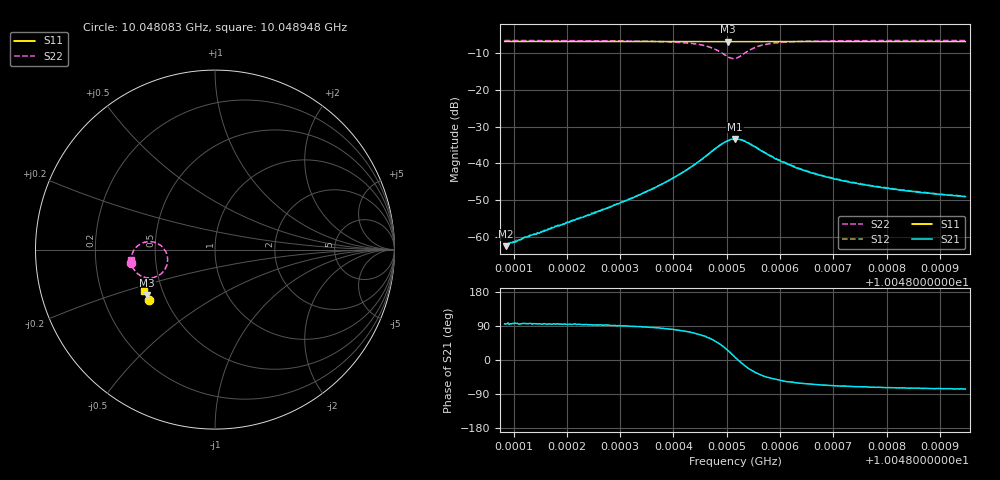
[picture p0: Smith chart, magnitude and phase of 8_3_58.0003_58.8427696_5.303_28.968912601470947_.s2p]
#  HZ  S  RI  R  50.00
! Rohde & Schwarz Vector Network Analyzer
! Rohde-Schwarz,ZNB20-2Port,1311601062101988,3.16
! Created: UTC 3/21/2024, 12:50:40 AM
! freq[Hz]  re:S11  im:S11  re:S21  im:S21  re:S12  im:S12  re:S22  im:S22
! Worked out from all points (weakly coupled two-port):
!   401 points, 10.048083 GHz to 10.048948 GHz, reference 50 ohm
!   highest |S21| = -33.34 dB at 10.048515 GHz (marker M1); lowest = -62.6 dB at 10.048085 GHz (marker M2)
!   lowest |S11| = -6.8 dB at 10.048503 GHz (marker M3), VSWR 2.68, Z = 20.1 - j13 ohm
!   |S11| at or under -10 dB: nowhere
!   |S22| runs from -11.4 to -6.5 dB; largest |S21 - S12| = 0.0019
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1.00480829e10  -0.3651 -0.2793  -7.23e-05 0.000748  -0.000146 0.000766  -0.4674 -0.0732
1.00480851e10  -0.365 -0.2792  -6.24e-05 0.000736  -0.000143 0.000766  -0.4674 -0.0729
1.00481218e10  -0.3665 -0.2771  -0.00011 0.00098  -0.000141 0.00094  -0.4679 -0.0687
1.00481456e10  -0.3675 -0.2758  -0.000103 0.00112  -0.000176 0.00113  -0.4678 -0.0656
1.00482278e10  -0.3706 -0.2713  -0.00011 0.00181  -0.000242 0.00181  -0.4676 -0.0535
1.00483208e10  -0.3741 -0.2659  5.9e-05 0.00331  -0.000147 0.00333  -0.4643 -0.0332
1.00483727e10  -0.3759 -0.2628  0.000453 0.00495  0.000181 0.00498  -0.4581 -0.0153
1.00484138e10  -0.3774 -0.2603  0.00153 0.00707  0.00112 0.00716  -0.445 0.00646
1.00484549e10  -0.3787 -0.2575  0.00505 0.0104  0.00432 0.0107  -0.407 0.0358
1.00484831e10  -0.3789 -0.2557  0.0117 0.0119  0.0107 0.0127  -0.3425 0.0424
1.00485025e10  -0.3788 -0.2547  0.0186 0.00851  0.0177 0.00988  -0.2826 0.0019
1.00485155e10  -0.379 -0.2545  0.0214 0.00268  0.021 0.00459  -0.2638 -0.0538
1.00485263e10  -0.3792 -0.2545  0.0209 -0.0022  0.021 -0.000545  -0.2745 -0.1017
1.00485393e10  -0.3798 -0.2544  0.0179 -0.00681  0.0186 -0.00535  -0.308 -0.1402
1.00485544e10  -0.3808 -0.2539  0.0138 -0.00911  0.0146 -0.00803  -0.3504 -0.1569
1.00485696e10  -0.3817 -0.2531  0.0104 -0.00957  0.0111 -0.00886  -0.3833 -0.1566
1.00485934e10  -0.383 -0.252  0.00711 -0.00883  0.00783 -0.00848  -0.4159 -0.1448
1.00486193e10  -0.3841 -0.2503  0.00498 -0.00792  0.00562 -0.00779  -0.4354 -0.1306
1.00486604e10  -0.3856 -0.2478  0.00323 -0.00658  0.00368 -0.00648  -0.4508 -0.1126
1.00487167e10  -0.3878 -0.2446  0.0021 -0.00541  0.00247 -0.00534  -0.4604 -0.0954
1.00488053e10  -0.3909 -0.2394  0.00133 -0.00432  0.00161 -0.00428  -0.4667 -0.0776
1.00489481e10  -0.3955 -0.231  0.000806 -0.00341  0.00101 -0.00337  -0.4707 -0.0588
